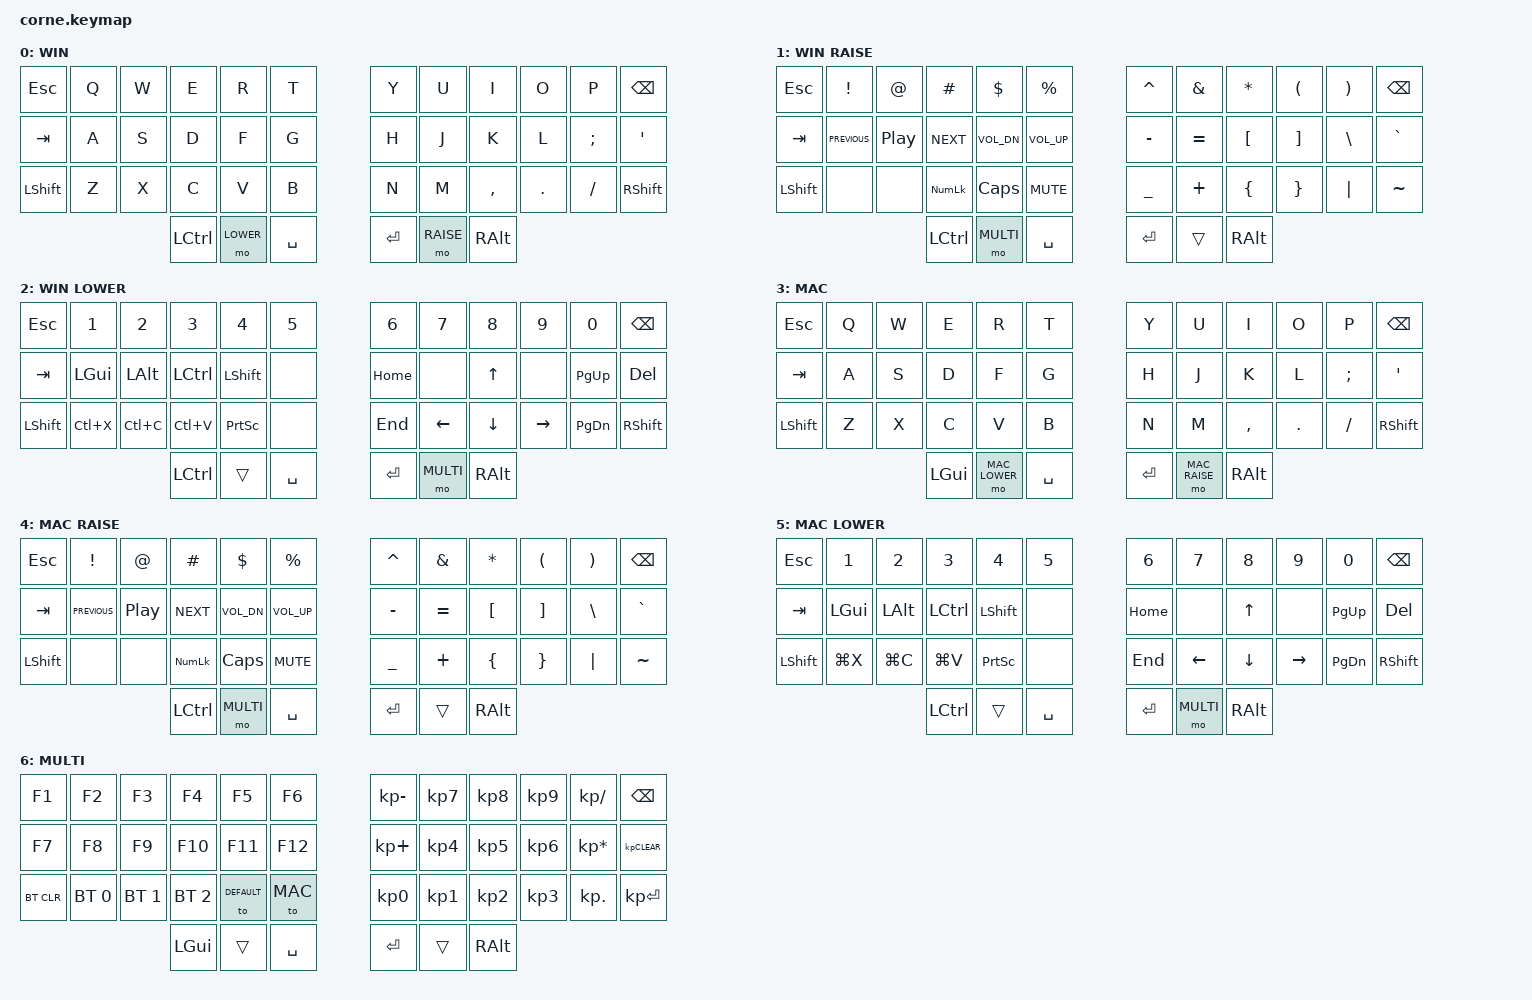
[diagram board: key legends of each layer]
/*
 * Copyright (c) 2020 The ZMK Contributors
 *
 * SPDX-License-Identifier: MIT
 */

#include <behaviors.dtsi>
#include <dt-bindings/zmk/keys.h>
#include <dt-bindings/zmk/bt.h>

#define DEFAULT 0
#define LOWER 2
#define RAISE 1
#define MULTI 6
#define MAC 3
#define MAC_LOWER 5
#define MAC_RAISE 4

/ {
        keymap {
                compatible = "zmk,keymap";

                default_layer {
// -----------------------------------------------------------------------------------------
// | ESC  |  Q  |  W  |  E  |  R  |  T  |   |  Y  |  U   |  I  |  O  |  P  | BKSP  |
// | TAB  |  A  |  S  |  D  |  F  |  G  |   |  H  |  J   |  K  |  L  |  ;  |  '    |
// | SHFT |  Z  |  X  |  C  |  V  |  B  |   |  N  |  M   |  ,  |  .  |  /  | SHIFT |
//                    | CTRL| LWR | SPC |   | ENT | RSE  | ALT |
                        label = "WIN";
                        bindings = <
   &kp ESC   &kp Q &kp W &kp E     &kp R     &kp T      &kp Y   &kp U      &kp I     &kp O   &kp P    &kp BSPC
   &kp TAB   &kp A &kp S &kp D     &kp F     &kp G      &kp H   &kp J      &kp K     &kp L   &kp SEMI &kp SQT
   &kp LSHFT &kp Z &kp X &kp C     &kp V     &kp B      &kp N   &kp M      &kp COMMA &kp DOT &kp FSLH &kp RSHIFT
                         &kp LCTRL &mo LOWER &kp SPACE  &kp RET &mo RAISE  &kp RALT >;
                };

                raise_layer {
// -----------------------------------------------------------------------------------------
// |  ESC |  !     |  @     |  #     |  $      |  %      |   |  ^  |  &     |  *  |  (  |  )  | BKSP |
// | TAB  |  PREV  |  PLAY  |  PREV  |  VOL -  |  VOL +  |   |  -  |  =     |  [  |  ]  |  \  |  `   |
// | SHFT |  NONE  |  NONE  |  BQ N  |  CAPS   |  MUTE   |   |  _  |  +     |  {  |  }  | "|" |  ~   |
//                          |  CTRL  |         |  SPC    |   | ENT |  MULTI | ALT |
                        label = "WIN RAISE";
                        bindings = <
   &kp ESC   &kp EXCL         &kp AT              &kp HASH      &kp DLLR        &kp PRCNT       &kp CARET     &kp AMPS     &kp ASTRK &kp LPAR &kp RPAR &kp BSPC
   &kp TAB   &kp C_PREVIOUS   &kp C_PLAY_PAUSE    &kp C_NEXT    &kp C_VOL_DN    &kp C_VOL_UP    &kp MINUS     &kp EQUAL    &kp LBKT  &kp RBKT &kp BSLH &kp GRAVE
   &kp LSHFT &none            &none               &kp KP_NUM    &kp CAPS        &kp C_MUTE      &kp UNDER     &kp PLUS     &kp LBRC  &kp RBRC &kp PIPE &kp TILDE
                                                  &kp LCTRL     &mo MULTI       &kp SPACE       &kp RET       &trans       &kp RALT
                        >;
                };

                lower_layer {
// -----------------------------------------------------------------------------------------
// | ESC   |  1    |  2     |  3      |  4      |  5     |   |  6    | 7     |  8    |  9    |  0         |   BKSP    |
// | TAB   |  GUI  |  LALT  |  LCTRL  |  LSHIFT |  NONE  |   | HOME  | NONE  |  UP   | NONE  |  PAGE UP   |   DEL     |
// | SHIFT |  CUT  |  COPY  |  PASTE  |  PRINT  |  NONE  |   | END   | LEFT  |  DOWN | RIGHT |  PAGE  DN  |   SHIFT   |
//                          |  LCTRL  |         |  SPC   |   | ENT   | MULTI |  ALT  |
                        label = "WIN LOWER";
                        bindings = <      
   &kp ESC    &kp N1    &kp N2    &kp N3     &kp N4     &kp N5      &kp N6      &kp N7    &kp N8    &kp N9    &kp N0    &kp BSPC
   &kp TAB    &kp LGUI  &kp LALT  &kp LCTRL  &kp LSHIFT &none       &kp HOME    &none     &kp UP    &none     &kp PG_UP &kp DEL
   &kp LSHFT  &kp LC(X) &kp LC(C) &kp LC(V)  &kp PSCRN  &none       &kp END     &kp LEFT  &kp DOWN  &kp RIGHT &kp PG_DN &kp RSHIFT
                                  &kp LCTRL  &trans     &kp SPACE   &kp RET     &mo MULTI &kp RALT
                        >;
                };

                mac_layer {
// -----------------------------------------------------------------------------------------
// | ESC  |  Q  |  W  |  E  |  R  |  T  |   |  Y  |  U   |  I  |  O  |  P  | BKSP  |
// | TAB  |  A  |  S  |  D  |  F  |  G  |   |  H  |  J   |  K  |  L  |  ;  |  '    |
// | SHFT |  Z  |  X  |  C  |  V  |  B  |   |  N  |  M   |  ,  |  .  |  /  | SHIFT |
//                    | CMD | LWR | SPC |   | ENT | RSE  | ALT |
                        label = "MAC";
                        bindings = <
   &kp ESC   &kp Q &kp W &kp E     &kp R         &kp T      &kp Y   &kp U      	   &kp I     &kp O   &kp P    &kp BSPC
   &kp TAB   &kp A &kp S &kp D     &kp F         &kp G      &kp H   &kp J          &kp K     &kp L   &kp SEMI &kp SQT
   &kp LSHFT &kp Z &kp X &kp C     &kp V         &kp B      &kp N   &kp M          &kp COMMA &kp DOT &kp FSLH &kp RSHIFT
                         &kp LGUI  &mo MAC_LOWER &kp SPACE  &kp RET &mo MAC_RAISE  &kp RALT >;
                };

                mac_raise_layer {
// -----------------------------------------------------------------------------------------
// | ESC  |  !     |  @     |  #     |  $      |  %      |   |  ^  |  &     |  *  |  (  |  )  | BKSP |
// | TAB  |  PREV  |  PLAY  |  PREV  |  VOL -  |  VOL +  |   |  -  |  =     |  [  |  ]  |  \  |  `   |
// | SHFT |  NONE  |  NONE  |  BQ N  |  CAPS   |  MUTE   |   |  _  |  +     |  {  |  }  | "|" |  ~   |
//                          |  CTRL  |         |  SPC    |   | ENT |  MULTI | ALT |
                        label = "MAC RAISE";
                        bindings = <
   &kp ESC   &kp EXCL         &kp AT              &kp HASH      &kp DLLR        &kp PRCNT       &kp CARET     &kp AMPS     &kp ASTRK &kp LPAR &kp RPAR &kp BSPC
   &kp TAB   &kp C_PREVIOUS   &kp C_PLAY_PAUSE    &kp C_NEXT    &kp C_VOL_DN    &kp C_VOL_UP    &kp MINUS     &kp EQUAL    &kp LBKT  &kp RBKT &kp BSLH &kp GRAVE
   &kp LSHFT &none            &none               &kp KP_NUM    &kp CAPS        &kp C_MUTE      &kp UNDER     &kp PLUS     &kp LBRC  &kp RBRC &kp PIPE &kp TILDE
                                                  &kp LCTRL     &mo MULTI       &kp SPACE       &kp RET       &trans       &kp RALT
                        >;
                };

                mac_lower_layer {
// -----------------------------------------------------------------------------------------
// | ESC   |  1    |  2     |  3      |  4      |  5     |   |  6    | 7     |  8    |  9    |  0         |   BKSP    |
// | TAB   |  GUI  |  LALT  |  LCTRL  |  LSHIFT |  NONE  |   | HOME  | NONE  |  UP   | NONE  |  PAGE UP   |   DEL     |
// | SHIFT |  CUT  |  COPY  |  PASTE  |  PRINT  |  NONE  |   | END   | LEFT  |  DOWN | RIGHT |  PAGE  DN  |   SHIFT   |
//                          |  LCTRL  |         |  SPC   |   | ENT   | MULTI |  ALT  |
                        label = "MAC LOWER";
                        bindings = <      
   &kp ESC    &kp N1    &kp N2    &kp N3     &kp N4     &kp N5      &kp N6      &kp N7    &kp N8    &kp N9    &kp N0    &kp BSPC
   &kp TAB    &kp LGUI  &kp LALT  &kp LCTRL  &kp LSHIFT &none       &kp HOME    &none     &kp UP    &none     &kp PG_UP &kp DEL
   &kp LSHFT  &kp LG(X) &kp LG(C) &kp LG(V)  &kp PSCRN  &none       &kp END     &kp LEFT  &kp DOWN  &kp RIGHT &kp PG_DN &kp RSHIFT
                                  &kp LCTRL  &trans     &kp SPACE   &kp RET     &mo MULTI &kp RALT
                        >;
                };

                multi_layer {
// -----------------------------------------------------------------------------------------
// |   F1   |  F2  |  F3  |  F4   |  F5  |  F6  |   |   -   |   7  |   8   |   9   |  /  |  BSPC  |
// |   F7   |  F8  | F9   |  F10  |  F11 |  F12 |   |   +   |  4   |   5   |   6   |  *  |  CLEAR |
// | BT CLR | BT0  | BT1  | BT2   |  BT3 | BT4  |   |   0   |  1   |   2   |   3   |  .  |  ENTER |
//                        |  GUI  |      | SPC  |   |  ENT  |      |  ALT  | 
                        label = "MULTI";
                        bindings = <
   &kp F1     &kp F2       &kp F3       &kp F4        &kp F5       &kp F6        &kp KP_MINUS   &kp KP_N7     &kp KP_N8  &kp KP_N9 &kp KP_DIVIDE   &kp BSPC
   &kp F7     &kp F8       &kp F9       &kp F10       &kp F11      &kp F12       &kp KP_PLUS    &kp KP_N4     &kp KP_N5  &kp KP_N6 &kp KP_MULTIPLY &kp KP_CLEAR
   &bt BT_CLR &bt BT_SEL 0 &bt BT_SEL 1 &bt BT_SEL 2  &to DEFAULT  &to MAC  	 &kp KP_N0      &kp KP_N1     &kp KP_N2  &kp KP_N3 &kp KP_DOT      &kp KP_ENTER
                                        &kp LGUI      &trans       &kp SPACE     &kp RET        &trans        &kp RALT
                        >;
                };

        };

};
